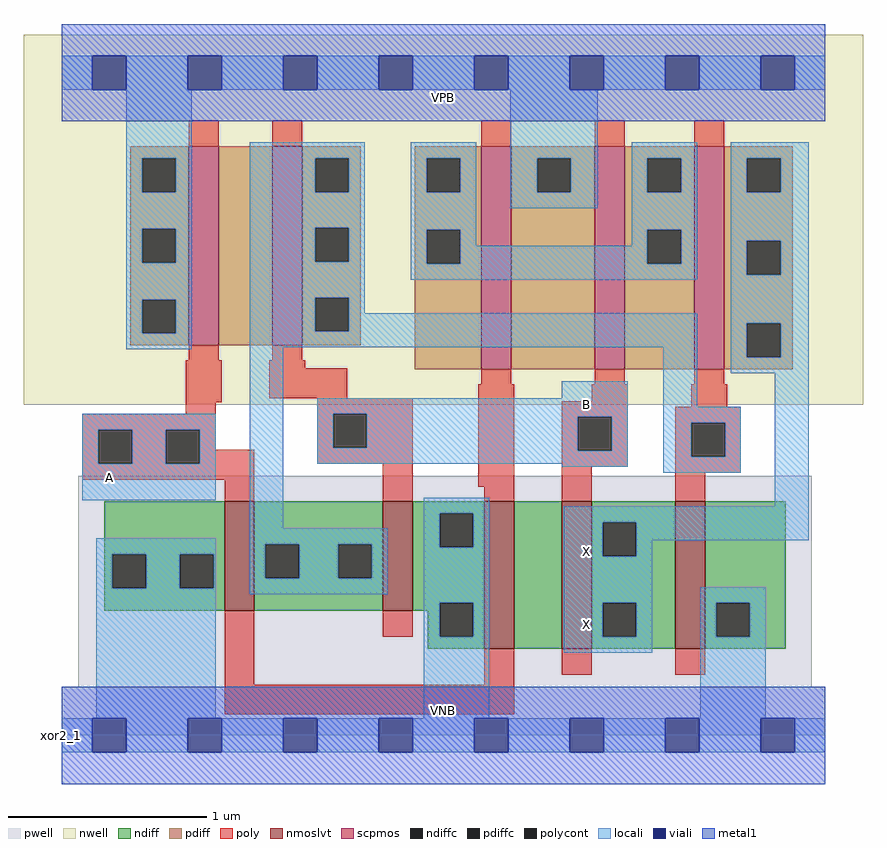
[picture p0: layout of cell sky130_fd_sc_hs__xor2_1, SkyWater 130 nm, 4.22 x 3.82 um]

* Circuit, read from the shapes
.subckt sky130_fd_sc_hs__xor2_1 A B VGND VNB VPB VPWR X
XM1 n1 A VGND VNB sky130_fd_pr__nfet_01v8_lvt w=0.55 l=0.15
XM2 VGND B n1 VNB sky130_fd_pr__nfet_01v8_lvt w=0.55 l=0.15
XM3 n2 A VGND VNB sky130_fd_pr__nfet_01v8_lvt w=0.74 l=0.15
XM4 X B n2 VNB sky130_fd_pr__nfet_01v8_lvt w=0.74 l=0.15
XM5 VGND n1 X VNB sky130_fd_pr__nfet_01v8_lvt w=0.74 l=0.15
XM6 n3 A VPWR VPB sky130_fd_pr__pfet_01v8 w=1 l=0.15
XM7 n1 B n3 VPB sky130_fd_pr__pfet_01v8 w=1 l=0.15
XM8 VPWR A n4 VPB sky130_fd_pr__pfet_01v8 w=1.12 l=0.15
XM9 n4 B VPWR VPB sky130_fd_pr__pfet_01v8 w=1.12 l=0.15
XM10 X n1 n4 VPB sky130_fd_pr__pfet_01v8 w=1.12 l=0.15
.ends

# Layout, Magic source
magic
tech sky130A
magscale 1 2
<< nwell >>
rect -38 332 806 704
<< pwell >>
rect 17 49 754 261
rect 0 0 768 49
<< scpmos >>
rect 128 392 158 592
rect 212 392 242 592
rect 422 368 452 592
rect 536 368 566 592
rect 636 368 666 592
<< nmoslvt >>
rect 164 125 194 235
rect 323 125 353 235
rect 425 87 455 235
rect 503 87 533 235
rect 617 87 647 235
<< ndiff >>
rect 43 182 164 235
rect 43 148 51 182
rect 85 148 119 182
rect 153 148 164 182
rect 43 125 164 148
rect 194 192 323 235
rect 194 158 205 192
rect 239 158 278 192
rect 312 158 323 192
rect 194 125 323 158
rect 353 223 425 235
rect 353 189 380 223
rect 414 189 425 223
rect 353 133 425 189
rect 353 125 380 133
rect 368 99 380 125
rect 414 99 425 133
rect 368 87 425 99
rect 455 87 503 235
rect 533 214 617 235
rect 533 180 544 214
rect 578 180 617 214
rect 533 133 617 180
rect 533 99 544 133
rect 578 99 617 133
rect 533 87 617 99
rect 647 133 728 235
rect 647 99 658 133
rect 692 99 728 133
rect 647 87 728 99
<< pdiff >>
rect 69 580 128 592
rect 69 546 81 580
rect 115 546 128 580
rect 69 509 128 546
rect 69 475 81 509
rect 115 475 128 509
rect 69 438 128 475
rect 69 404 81 438
rect 115 404 128 438
rect 69 392 128 404
rect 158 392 212 592
rect 242 580 301 592
rect 242 546 255 580
rect 289 546 301 580
rect 242 510 301 546
rect 242 476 255 510
rect 289 476 301 510
rect 242 440 301 476
rect 242 406 255 440
rect 289 406 301 440
rect 242 392 301 406
rect 355 580 422 592
rect 355 546 367 580
rect 401 546 422 580
rect 355 508 422 546
rect 355 474 367 508
rect 401 474 422 508
rect 355 368 422 474
rect 452 580 536 592
rect 452 546 478 580
rect 512 546 536 580
rect 452 368 536 546
rect 566 580 636 592
rect 566 546 589 580
rect 623 546 636 580
rect 566 508 636 546
rect 566 474 589 508
rect 623 474 636 508
rect 566 368 636 474
rect 666 580 735 592
rect 666 546 689 580
rect 723 546 735 580
rect 666 497 735 546
rect 666 463 689 497
rect 723 463 735 497
rect 666 414 735 463
rect 666 380 689 414
rect 723 380 735 414
rect 666 368 735 380
<< ndiffc >>
rect 51 148 85 182
rect 119 148 153 182
rect 205 158 239 192
rect 278 158 312 192
rect 380 189 414 223
rect 380 99 414 133
rect 544 180 578 214
rect 544 99 578 133
rect 658 99 692 133
<< pdiffc >>
rect 81 546 115 580
rect 81 475 115 509
rect 81 404 115 438
rect 255 546 289 580
rect 255 476 289 510
rect 255 406 289 440
rect 367 546 401 580
rect 367 474 401 508
rect 478 546 512 580
rect 589 546 623 580
rect 589 474 623 508
rect 689 546 723 580
rect 689 463 723 497
rect 689 380 723 414
<< poly >>
rect 128 592 158 618
rect 212 592 242 618
rect 422 592 452 618
rect 536 592 566 618
rect 636 592 666 618
rect 128 377 158 392
rect 212 377 242 392
rect 125 335 161 377
rect 209 369 245 377
rect 209 339 287 369
rect 422 353 452 368
rect 536 353 566 368
rect 636 353 666 368
rect 125 323 155 335
rect 21 307 155 323
rect 21 273 37 307
rect 71 273 105 307
rect 139 287 155 307
rect 257 323 353 339
rect 257 289 273 323
rect 307 289 353 323
rect 139 273 194 287
rect 257 273 353 289
rect 21 257 194 273
rect 164 235 194 257
rect 323 235 353 273
rect 419 250 455 353
rect 533 336 569 353
rect 425 235 455 250
rect 503 320 569 336
rect 633 330 669 353
rect 503 286 519 320
rect 553 286 569 320
rect 503 270 569 286
rect 617 314 683 330
rect 617 280 633 314
rect 667 280 683 314
rect 503 235 533 270
rect 617 264 683 280
rect 617 235 647 264
rect 164 51 194 125
rect 323 99 353 125
rect 425 51 455 87
rect 503 61 533 87
rect 617 61 647 87
rect 164 21 455 51
<< polycont >>
rect 37 273 71 307
rect 105 273 139 307
rect 273 289 307 323
rect 519 286 553 320
rect 633 280 667 314
<< locali >>
rect 0 649 31 683
rect 65 649 127 683
rect 161 649 223 683
rect 257 649 319 683
rect 353 649 415 683
rect 449 649 511 683
rect 545 649 607 683
rect 641 649 703 683
rect 737 649 768 683
rect 65 580 131 649
rect 65 546 81 580
rect 115 546 131 580
rect 65 509 131 546
rect 65 475 81 509
rect 115 475 131 509
rect 65 438 131 475
rect 65 404 81 438
rect 115 404 131 438
rect 65 388 131 404
rect 189 580 305 596
rect 189 546 255 580
rect 289 546 305 580
rect 189 510 305 546
rect 189 476 255 510
rect 289 476 305 510
rect 189 440 305 476
rect 351 580 417 596
rect 351 546 367 580
rect 401 546 417 580
rect 351 508 417 546
rect 451 580 539 649
rect 451 546 478 580
rect 512 546 539 580
rect 451 530 539 546
rect 573 580 639 596
rect 573 546 589 580
rect 623 546 639 580
rect 351 474 367 508
rect 401 492 417 508
rect 573 508 639 546
rect 573 492 589 508
rect 401 474 589 492
rect 623 474 639 508
rect 351 458 639 474
rect 673 580 751 596
rect 673 546 689 580
rect 723 546 751 580
rect 673 497 751 546
rect 673 463 689 497
rect 723 463 751 497
rect 189 406 255 440
rect 289 424 305 440
rect 289 406 639 424
rect 189 390 639 406
rect 21 307 155 323
rect 21 273 37 307
rect 71 273 105 307
rect 139 273 155 307
rect 21 236 155 273
rect 189 208 223 390
rect 503 339 569 356
rect 257 323 569 339
rect 257 289 273 323
rect 307 320 569 323
rect 307 289 519 320
rect 257 286 519 289
rect 553 286 569 320
rect 257 273 569 286
rect 503 270 569 273
rect 605 330 639 390
rect 673 414 751 463
rect 673 380 689 414
rect 723 380 751 414
rect 673 364 751 380
rect 605 314 683 330
rect 605 280 633 314
rect 667 280 683 314
rect 605 264 683 280
rect 364 223 430 239
rect 717 230 751 364
rect 35 182 155 198
rect 35 148 51 182
rect 85 148 119 182
rect 153 148 155 182
rect 35 17 155 148
rect 189 192 328 208
rect 189 158 205 192
rect 239 158 278 192
rect 312 158 328 192
rect 189 142 328 158
rect 364 189 380 223
rect 414 189 430 223
rect 364 133 430 189
rect 364 99 380 133
rect 414 99 430 133
rect 364 17 430 99
rect 505 214 751 230
rect 505 180 544 214
rect 578 196 751 214
rect 578 180 594 196
rect 505 133 594 180
rect 505 99 544 133
rect 578 99 594 133
rect 505 83 594 99
rect 642 133 708 149
rect 642 99 658 133
rect 692 99 708 133
rect 642 17 708 99
rect 0 -17 31 17
rect 65 -17 127 17
rect 161 -17 223 17
rect 257 -17 319 17
rect 353 -17 415 17
rect 449 -17 511 17
rect 545 -17 607 17
rect 641 -17 703 17
rect 737 -17 768 17
<< viali >>
rect 31 649 65 683
rect 127 649 161 683
rect 223 649 257 683
rect 319 649 353 683
rect 415 649 449 683
rect 511 649 545 683
rect 607 649 641 683
rect 703 649 737 683
rect 31 -17 65 17
rect 127 -17 161 17
rect 223 -17 257 17
rect 319 -17 353 17
rect 415 -17 449 17
rect 511 -17 545 17
rect 607 -17 641 17
rect 703 -17 737 17
<< metal1 >>
rect 0 683 768 715
rect 0 649 31 683
rect 65 649 127 683
rect 161 649 223 683
rect 257 649 319 683
rect 353 649 415 683
rect 449 649 511 683
rect 545 649 607 683
rect 641 649 703 683
rect 737 649 768 683
rect 0 617 768 649
rect 0 17 768 49
rect 0 -17 31 17
rect 65 -17 127 17
rect 161 -17 223 17
rect 257 -17 319 17
rect 353 -17 415 17
rect 449 -17 511 17
rect 545 -17 607 17
rect 641 -17 703 17
rect 737 -17 768 17
rect 0 -49 768 -17
<< labels >>
rlabel comment s 0 0 0 0 4 xor2_1
flabel pwell s 0 0 768 49 0 FreeSans 200 0 0 0 VNB
port 4 nsew ground bidirectional
flabel nwell s 0 617 768 666 0 FreeSans 200 0 0 0 VPB
port 5 nsew power bidirectional
flabel metal1 s 0 617 768 666 0 FreeSans 340 0 0 0 VPWR
port 6 nsew power bidirectional
flabel metal1 s 0 0 768 49 0 FreeSans 340 0 0 0 VGND
port 3 nsew ground bidirectional
flabel locali s 31 242 65 276 0 FreeSans 340 0 0 0 A
port 1 nsew signal input
flabel locali s 511 316 545 350 0 FreeSans 340 0 0 0 B
port 2 nsew signal input
flabel locali s 511 94 545 128 0 FreeSans 340 0 0 0 X
port 7 nsew signal output
flabel locali s 511 168 545 202 0 FreeSans 340 0 0 0 X
port 7 nsew signal output
<< properties >>
string LEFsite unit
string LEFclass CORE
string FIXED_BBOX 0 0 768 666
string GDS_FILE $PDKPATH/libs.ref/sky130_fd_sc_hs/gds/sky130_fd_sc_hs.gds
string LEFsymmetry X Y
string GDS_END 1197162
string GDS_START 1190870
<< end >>
